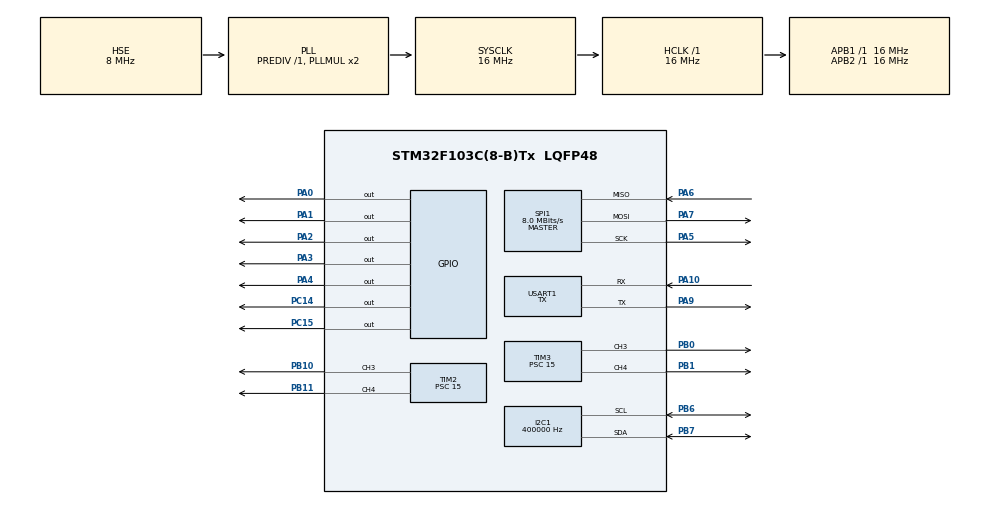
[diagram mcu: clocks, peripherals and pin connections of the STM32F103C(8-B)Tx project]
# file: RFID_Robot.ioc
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I2C1.ClockSpeed=400000
I2C1.I2C_Mode=I2C_Fast
Mcu.Family=STM32F1
Mcu.Name=STM32F103C(8-B)Tx
Mcu.Package=LQFP48
NVIC.PriorityGroup=NVIC_PRIORITYGROUP_4
PA0-WKUP.GPIO_PuPd=GPIO_PULLUP
PA0-WKUP.Signal=GPIO_Output
PA1.Signal=GPIO_Output
PA10.Mode=Asynchronous
PA10.Signal=USART1_RX
PA13.Mode=Serial_Wire
PA13.Signal=SYS_JTMS-SWDIO
PA14.Mode=Serial_Wire
PA14.Signal=SYS_JTCK-SWCLK
PA2.Signal=GPIO_Output
PA3.Signal=GPIO_Output
PA4.Signal=GPIO_Output
PA5.Mode=Full_Duplex_Master
PA5.Signal=SPI1_SCK
PA6.Mode=Full_Duplex_Master
PA6.Signal=SPI1_MISO
PA7.Mode=Full_Duplex_Master
PA7.Signal=SPI1_MOSI
PA9.Mode=Asynchronous
PA9.Signal=USART1_TX
PB0.Signal=S_TIM3_CH3
PB1.Signal=S_TIM3_CH4
PB10.Signal=S_TIM2_CH3
PB11.Signal=S_TIM2_CH4
PB6.Mode=I2C
PB6.Signal=I2C1_SCL
PB7.Mode=I2C
PB7.Signal=I2C1_SDA
PC14-OSC32_IN.Signal=GPIO_Output
PC15-OSC32_OUT.Signal=GPIO_Output
PD0-OSC_IN.Mode=HSE-External-Oscillator
PD0-OSC_IN.Signal=RCC_OSC_IN
PD1-OSC_OUT.Mode=HSE-External-Oscillator
PD1-OSC_OUT.Signal=RCC_OSC_OUT
ProjectManager.HeapSize=0x200
ProjectManager.StackSize=0x400
ProjectManager.TargetToolchain=MDK-ARM V5.32
RCC.AHBFreq_Value=16000000
RCC.APB1Freq_Value=16000000
RCC.APB1TimFreq_Value=16000000
RCC.APB2Freq_Value=16000000
RCC.APB2TimFreq_Value=16000000
RCC.HCLKFreq_Value=16000000
RCC.PLLSourceVirtual=RCC_PLLSOURCE_HSE
RCC.SYSCLKFreq_VALUE=16000000
RCC.SYSCLKSource=RCC_SYSCLKSOURCE_PLLCLK
RCC.USBFreq_Value=16000000
SH.S_TIM2_CH3.0=TIM2_CH3,PWM Generation3 CH3
SH.S_TIM2_CH4.0=TIM2_CH4,PWM Generation4 CH4
SH.S_TIM3_CH3.0=TIM3_CH3,PWM Generation3 CH3
SH.S_TIM3_CH4.0=TIM3_CH4,PWM Generation4 CH4
SPI1.CalculateBaudRate=8.0 MBits/s
SPI1.Direction=SPI_DIRECTION_2LINES
SPI1.Mode=SPI_MODE_MASTER
SPI1.VirtualType=VM_MASTER
TIM2.Channel-PWM\ Generation3\ CH3=TIM_CHANNEL_3
TIM2.Channel-PWM\ Generation4\ CH4=TIM_CHANNEL_4
TIM2.Period=999
TIM2.Prescaler=15
TIM3.Channel-PWM\ Generation3\ CH3=TIM_CHANNEL_3
TIM3.Channel-PWM\ Generation4\ CH4=TIM_CHANNEL_4
TIM3.Period=999
TIM3.Prescaler=15
USART1.Mode=MODE_TX
USART1.VirtualMode=VM_ASYNC
VP_TIM2_VS_ClockSourceINT.Mode=Internal
VP_TIM3_VS_ClockSourceINT.Mode=Internal
board=custom

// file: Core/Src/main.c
/* USER CODE BEGIN Header */
/**
  ******************************************************************************
  * @file           : main.c
  * @brief          : Main application for the RFID-guided robot.
  *
  * Project:
  *   RFID-Guided Robot
  *
  * Description:
  *   This firmware controls an STM32-based mobile robot that uses RFID tags
  *   to determine movement commands and an MPU6050 to control the robot's
  *   heading and perform 90-degree and 180-degree turns.
  *
  * Hardware:
  *   - STM32F103C8T6
  *   - RC522 RFID reader
  *   - MPU6050 IMU
  *   - L298 motor driver
  *   - Two DC motors
  *
  * Control:
  *   The robot follows a straight heading using PI-based feedback control.
  *   When a recognized RFID tag is detected, the robot stops, processes the
  *   corresponding command, and performs the required turn before continuing.
  *
  * Software:
  *   STM32 HAL
  *
  * @Author: Mahdi Rahpeyma
  * @github: https://github.com/mahdi-rhp
	* @email : rhp.mahdi@gmail.com
  *
  ******************************************************************************
  */
/* USER CODE END Header */
#include "main.h"
#include "i2c.h"
#include "spi.h"
#include "tim.h"
#include "usart.h"
#include "gpio.h"

/* USER CODE BEGIN Includes */
#include "mpu6050.h"
#include "rc522.h"
#include "stdio.h"
#include <string.h>
#include <math.h>

/* USER CODE END Includes */

/* USER CODE BEGIN PD */
#define PWM_DUTY 300
#define STRAIGHT_TOLERANCE 0.80     // Allowed yaw angle deviation (in degrees)
#define PWM_BASE_SPEED 300         // Base motor speed
#define PWM_ADJUST 80              // Speed adjustment for correction
/* USER CODE END PD */

/* USER CODE BEGIN PV */
uint8_t CardID[MFRC522_MAX_LEN];
uint8_t LastCardID[4] = {0};
const uint8_t Turn_Right[4] = {0x55, 0xF6, 0x41, 0x9A};
const uint8_t Turn_Left[4] = {0xF1, 0x13, 0xBE, 0x1F};
const uint8_t Turn_Around[4] = {0xD3, 0x43, 0x50, 0x1A};
const uint8_t Repeat_Command_Tag[4] = {0x83, 0x1A, 0xBB, 0x27};
const uint8_t Stop_Command_Tag[4] = {0x06, 0xA8, 0xDB};
uint8_t t;

MPU6050_t MPU6050;
double yaw_angle = 0.0;
uint32_t lastTick = 0;
double gyroZ_offset = 1.142;

double yaw_error_integral = 0.0;
double Kp = 120.0;
double Ki = 10.0;

/* USER CODE END PV */

void SystemClock_Config(void);
/* USER CODE BEGIN PFP */
/* MPU6050 / Yaw -------------------------------------------------------------*/

void Update_Yaw(double* yaw_angle, uint32_t* lastTick, double gyroZ_offset);
/* Rotation control ----------------------------------------------------------*/

void PerformRotation(double target_angle, void (*TurnMotorFunc)(void),
                     TIM_HandleTypeDef* htim_a, uint32_t channel_a,
                     TIM_HandleTypeDef* htim_b, uint32_t channel_b);
/* Straight-line control ----------------------------------------------------*/

void Maintain_Straight_Line(double* yaw_angle, uint32_t* lastTick, double gyroZ_offset);
void PerformRotation_PI(double target_angle);
void Maintain_Straight_Line_PI(double* yaw_angle, uint32_t* lastTick, double gyroZ_offset);
void Maintain_Straight_Line_PI_Backward(double* yaw_angle, uint32_t* lastTick, double gyroZ_offset);

void Motor_Stop(void);
void Motor_Forward(void);
void Motor_Backward(void);
void Motor_TurnRight(void);
void Motor_TurnLeft(void);

/* USER CODE END PFP */

int main(void)
{

  /* MCU Configuration--------------------------------------------------------*/

  /* Reset of all peripherals, Initializes the Flash interface and the Systick. */
  HAL_Init();

  /* Configure the system clock */
  SystemClock_Config();

  /* Initialize all configured peripherals */
  MX_GPIO_Init();
  MX_I2C1_Init();
  MX_SPI1_Init();
  MX_USART1_UART_Init();
  MX_TIM2_Init();
  MX_TIM3_Init();
  /* USER CODE BEGIN 2 */
	  HAL_Delay(100);

  MFRC522_Init();
  // HAL_GPIO_WritePin(GPIOA, GPIO_PIN_4, GPIO_PIN_SET);
  // HAL_UART_Transmit(&huart1, (uint8_t*)"helo,RC522 is ready. lets go!\r\n", 32, HAL_MAX_DELAY); // UART for RFID init message

  MPU6050_Init(&hi2c1);
  while (MPU6050_Init(&hi2c1) == 1);
  // HAL_UART_Transmit(&huart1, (uint8_t*)"STM32F103 Mifare RC522 RFID Card reader\r\n", 42, 500); // UART for MPU6050 init

  HAL_TIM_PWM_Start(&htim3, TIM_CHANNEL_3);
  HAL_TIM_PWM_Start(&htim3, TIM_CHANNEL_4);
  HAL_TIM_PWM_Start(&htim2, TIM_CHANNEL_3);
  HAL_TIM_PWM_Start(&htim2, TIM_CHANNEL_4);

  typedef enum {
      NORMAL_STATE,
      ROTATING_RIGHT,
      ROTATING_LEFT,
      ROTATING_AROUND,
		  STOPPED_STATE
  } RobotState_t;

  RobotState_t RobotState = NORMAL_STATE;
	RobotState_t LastCommand = NORMAL_STATE;

  HAL_Delay(4000);
	HAL_GPIO_WritePin(GPIOA,GPIO_PIN_0,1);
	HAL_GPIO_WritePin(GPIOA,GPIO_PIN_1,1);
  HAL_GPIO_WritePin(GPIOA,GPIO_PIN_2,1);
	HAL_GPIO_WritePin(GPIOA,GPIO_PIN_3,1);

  HAL_GPIO_WritePin(GPIOC,GPIO_PIN_14,0);
  HAL_GPIO_WritePin(GPIOC,GPIO_PIN_15,0);

  /* USER CODE END 2 */

  /* Infinite loop */
  /* USER CODE BEGIN WHILE */
  while (1)
  {

		Update_Yaw(&yaw_angle, &lastTick, gyroZ_offset);

    switch (RobotState)
    {
      case NORMAL_STATE:
        // HAL_UART_Transmit(&huart1, (uint8_t*)"everything is good\r\n", 22, HAL_MAX_DELAY); // UART normal state message
		  	Maintain_Straight_Line_PI(&yaw_angle, &lastTick, gyroZ_offset);
     //   Maintain_Straight_Line(&yaw_angle, &lastTick, gyroZ_offset);
      //     Motor_Forward();
        if (!MFRC522_Request(PICC_REQIDL, CardID))
        {
          if (!MFRC522_Anticoll(CardID))
          {
            if (memcmp(CardID, LastCardID, 4))
            {
              memcpy(LastCardID, CardID, 4);
							yaw_angle = 0;
						  HAL_GPIO_WritePin(GPIOC,GPIO_PIN_14,1);
	            HAL_GPIO_WritePin(GPIOC,GPIO_PIN_15,1);

              Motor_Stop();
              HAL_Delay(700);
						//	Maintain_Straight_Line_PI_Backward(&yaw_angle, &lastTick, gyroZ_offset);
              Motor_Backward();
              HAL_Delay(450);
              Motor_Stop();

              HAL_GPIO_WritePin(GPIOC,GPIO_PIN_14,0);
	            HAL_GPIO_WritePin(GPIOC,GPIO_PIN_15,0);
              // HAL_UART_Transmit(&huart1, (uint8_t*)"stop!!!!\r\n", 11, HAL_MAX_DELAY); // UART stop message

              if (memcmp(LastCardID, Turn_Right, 4) == 0)
               {
                  LastCommand = ROTATING_RIGHT;
                  RobotState = ROTATING_RIGHT;
               }
              else if (memcmp(LastCardID, Turn_Left, 4) == 0)
              {
                  LastCommand = ROTATING_LEFT;
                  RobotState = ROTATING_LEFT;
              }
              else if (memcmp(LastCardID, Turn_Around, 4) == 0)
              {
                 LastCommand = ROTATING_AROUND;
                 RobotState = ROTATING_AROUND;
              }
              else if (memcmp(LastCardID, Repeat_Command_Tag, 4) == 0)
              {
                   RobotState = LastCommand;
              }
							else if (memcmp(LastCardID, Stop_Command_Tag, 4) == 0)
              {
                   RobotState = STOPPED_STATE;
              }

            }
          }
        }
        else {
          t++;
          if (t > 4) {
            memset(LastCardID, 0, 4);
            t = 0;
          }
        }
        break;

      case ROTATING_RIGHT:
        PerformRotation(-90.0, Motor_TurnRight, &htim3, TIM_CHANNEL_3, &htim2, TIM_CHANNEL_4);
			//  PerformRotation_PI(-90.0);
        RobotState = NORMAL_STATE;
        break;

      case ROTATING_LEFT:
        PerformRotation(90.0, Motor_TurnLeft, &htim3, TIM_CHANNEL_4, &htim2, TIM_CHANNEL_3);
		 // 	PerformRotation_PI(90.0);
        RobotState = NORMAL_STATE;
        break;

      case ROTATING_AROUND:
        PerformRotation(-180.0, Motor_TurnRight, &htim3, TIM_CHANNEL_3, &htim2, TIM_CHANNEL_4);
		//  	PerformRotation_PI(-180.0);
        RobotState = NORMAL_STATE;
        break;
			case STOPPED_STATE:
        Motor_Stop();
        break;

    }

    HAL_Delay(50);

    /* USER CODE END WHILE */

  }
}

void SystemClock_Config(void)
{
  RCC_OscInitTypeDef RCC_OscInitStruct = {0};
  RCC_ClkInitTypeDef RCC_ClkInitStruct = {0};

  /** Initializes the RCC Oscillators according to the specified parameters
  * in the RCC_OscInitTypeDef structure.
  */
  RCC_OscInitStruct.OscillatorType = RCC_OSCILLATORTYPE_HSE;
  RCC_OscInitStruct.HSEState = RCC_HSE_ON;
  RCC_OscInitStruct.HSEPredivValue = RCC_HSE_PREDIV_DIV1;
  RCC_OscInitStruct.HSIState = RCC_HSI_ON;
  RCC_OscInitStruct.PLL.PLLState = RCC_PLL_ON;
  RCC_OscInitStruct.PLL.PLLSource = RCC_PLLSOURCE_HSE;
  RCC_OscInitStruct.PLL.PLLMUL = RCC_PLL_MUL2;
  if (HAL_RCC_OscConfig(&RCC_OscInitStruct) != HAL_OK)
  {
    Error_Handler();
  }

  /** Initializes the CPU, AHB and APB buses clocks
  */
  RCC_ClkInitStruct.ClockType = RCC_CLOCKTYPE_HCLK|RCC_CLOCKTYPE_SYSCLK
                              |RCC_CLOCKTYPE_PCLK1|RCC_CLOCKTYPE_PCLK2;
  RCC_ClkInitStruct.SYSCLKSource = RCC_SYSCLKSOURCE_PLLCLK;
  RCC_ClkInitStruct.AHBCLKDivider = RCC_SYSCLK_DIV1;
  RCC_ClkInitStruct.APB1CLKDivider = RCC_HCLK_DIV1;
  RCC_ClkInitStruct.APB2CLKDivider = RCC_HCLK_DIV1;

  if (HAL_RCC_ClockConfig(&RCC_ClkInitStruct, FLASH_LATENCY_0) != HAL_OK)
  {
    Error_Handler();
  }
}

/* USER CODE BEGIN 4 */

/* Motor control -------------------------------------------------------------*/

void Motor_Stop(void)
{
    __HAL_TIM_SET_COMPARE(&htim3, TIM_CHANNEL_3, 0);
    __HAL_TIM_SET_COMPARE(&htim3, TIM_CHANNEL_4, 0);
    __HAL_TIM_SET_COMPARE(&htim2, TIM_CHANNEL_3, 0);
    __HAL_TIM_SET_COMPARE(&htim2, TIM_CHANNEL_4, 0);
}

void Motor_Forward(void)
{
    __HAL_TIM_SET_COMPARE(&htim3, TIM_CHANNEL_3, PWM_DUTY);
    __HAL_TIM_SET_COMPARE(&htim3, TIM_CHANNEL_4, 0);
    __HAL_TIM_SET_COMPARE(&htim2, TIM_CHANNEL_3, PWM_DUTY);
    __HAL_TIM_SET_COMPARE(&htim2, TIM_CHANNEL_4, 0);
}

void Motor_Backward(void)
{
    __HAL_TIM_SET_COMPARE(&htim3, TIM_CHANNEL_3, 0);
    __HAL_TIM_SET_COMPARE(&htim3, TIM_CHANNEL_4, 400);
    __HAL_TIM_SET_COMPARE(&htim2, TIM_CHANNEL_3, 0);
    __HAL_TIM_SET_COMPARE(&htim2, TIM_CHANNEL_4, 400);
}

void Motor_TurnRight(void)
{
    __HAL_TIM_SET_COMPARE(&htim3, TIM_CHANNEL_3, PWM_DUTY);
    __HAL_TIM_SET_COMPARE(&htim3, TIM_CHANNEL_4, 0);
    __HAL_TIM_SET_COMPARE(&htim2, TIM_CHANNEL_3, 0);
    __HAL_TIM_SET_COMPARE(&htim2, TIM_CHANNEL_4, PWM_DUTY);
}

void Motor_TurnLeft(void)
{
    __HAL_TIM_SET_COMPARE(&htim3, TIM_CHANNEL_3, 0);
    __HAL_TIM_SET_COMPARE(&htim3, TIM_CHANNEL_4, PWM_DUTY);
    __HAL_TIM_SET_COMPARE(&htim2, TIM_CHANNEL_3, PWM_DUTY);
    __HAL_TIM_SET_COMPARE(&htim2, TIM_CHANNEL_4, 0);
}

void Update_Yaw(double* yaw_angle, uint32_t* lastTick, double gyroZ_offset)
{
    MPU6050_Read_All(&hi2c1, &MPU6050);
    uint32_t now = HAL_GetTick();
    double dt = (now - *lastTick) / 1000.0;
    *lastTick = now;
    double Gz_corrected = MPU6050.Gz - gyroZ_offset;
    *yaw_angle += Gz_corrected * dt;
}

void PerformRotation(double target_angle, void (*TurnMotorFunc)(void),
                     TIM_HandleTypeDef* htim_a, uint32_t channel_a,
                     TIM_HandleTypeDef* htim_b, uint32_t channel_b)
{
    TurnMotorFunc();

    if (target_angle > 0)
    {
        while (yaw_angle < target_angle)
        {
            Update_Yaw(&yaw_angle, &lastTick, gyroZ_offset);

            if (yaw_angle > target_angle - 15.0)
            {
                __HAL_TIM_SET_COMPARE(htim_a, channel_a, 200);
                __HAL_TIM_SET_COMPARE(htim_b, channel_b, 200);
            }

            HAL_Delay(5);
        }
    }
    else if (target_angle < 0)
    {
        while (yaw_angle > target_angle)
        {
            Update_Yaw(&yaw_angle, &lastTick, gyroZ_offset);

            if (yaw_angle < target_angle + 15.0)
            {
                __HAL_TIM_SET_COMPARE(htim_a, channel_a, 200);
                __HAL_TIM_SET_COMPARE(htim_b, channel_b, 200);
            }

            HAL_Delay(5);
        }
    }

    Motor_Stop();
		HAL_Delay(200);

		    if (target_angle > 0)
    {
        while (yaw_angle < target_angle)
        {
            Update_Yaw(&yaw_angle, &lastTick, gyroZ_offset);

            if (yaw_angle > target_angle - 5.0)
            {
                __HAL_TIM_SET_COMPARE(htim_a, channel_a, 180);
                __HAL_TIM_SET_COMPARE(htim_b, channel_b, 180);
            }

            HAL_Delay(5);
        }
    }
    else if (target_angle < 0)
    {
        while (yaw_angle > target_angle)
        {
            Update_Yaw(&yaw_angle, &lastTick, gyroZ_offset);

            if (yaw_angle < target_angle + 5.0)
            {
                __HAL_TIM_SET_COMPARE(htim_a, channel_a, 180);
                __HAL_TIM_SET_COMPARE(htim_b, channel_b, 180);
            }

            HAL_Delay(5);
        }
    }

    Motor_Stop();

    yaw_angle = 0;
}

void Maintain_Straight_Line(double* yaw_angle, uint32_t* lastTick, double gyroZ_offset)
{
    // Update yaw angle using gyroscope
    Update_Yaw(yaw_angle, lastTick, gyroZ_offset);

    if (*yaw_angle > STRAIGHT_TOLERANCE) {
        // Deviating to the left – increase left wheel speed, decrease right wheel speed
        __HAL_TIM_SET_COMPARE(&htim3, TIM_CHANNEL_3, PWM_BASE_SPEED + PWM_ADJUST); // Left motor
        __HAL_TIM_SET_COMPARE(&htim2, TIM_CHANNEL_3, PWM_BASE_SPEED - PWM_ADJUST); // Right motor
    }
    else if (*yaw_angle < -STRAIGHT_TOLERANCE) {
        // Deviating to the right – increase right wheel speed, decrease left wheel speed
        __HAL_TIM_SET_COMPARE(&htim3, TIM_CHANNEL_3, PWM_BASE_SPEED - PWM_ADJUST); // Left motor
        __HAL_TIM_SET_COMPARE(&htim2, TIM_CHANNEL_3, PWM_BASE_SPEED + PWM_ADJUST); // Right motor
    }
    else {
        // Moving straight – keep both motors at base speed
        __HAL_TIM_SET_COMPARE(&htim3, TIM_CHANNEL_3, PWM_BASE_SPEED); // Left motor
        __HAL_TIM_SET_COMPARE(&htim2, TIM_CHANNEL_3, PWM_BASE_SPEED); // Right motor
    }
}

void Maintain_Straight_Line_PI(double* yaw_angle, uint32_t* lastTick, double gyroZ_offset)
{
    MPU6050_Read_All(&hi2c1, &MPU6050);
    uint32_t now = HAL_GetTick();
    double dt = (now - *lastTick) / 1000.0;
    *lastTick = now;

    double Gz_corrected = MPU6050.Gz - gyroZ_offset;
    *yaw_angle += Gz_corrected * dt;
    double error = *yaw_angle;
    yaw_error_integral += error * dt;
    double control_output = Kp * error + Ki * yaw_error_integral;
    if (control_output > PWM_ADJUST) control_output = PWM_ADJUST;
    if (control_output < -PWM_ADJUST) control_output = -PWM_ADJUST;
    int left_speed = PWM_BASE_SPEED + control_output;
    int right_speed = PWM_BASE_SPEED - control_output;
    if (left_speed < 0) left_speed = 0;
    if (right_speed < 0) right_speed = 0;
    if (left_speed > 1000) left_speed = 1000;
    if (right_speed > 1000) right_speed = 1000;
    __HAL_TIM_SET_COMPARE(&htim3, TIM_CHANNEL_3, left_speed);  // Left motor
    __HAL_TIM_SET_COMPARE(&htim2, TIM_CHANNEL_3, right_speed); // Right motor
}

void PerformRotation_PI(double target_angle)
{
    yaw_angle = 0;
    yaw_error_integral = 0;

    double error, control_output;
    double Kp_rot = 6.0;
    double Ki_rot = 0.5;
    const int pwm_min = 200;
    const int pwm_max = 400;
    const double angle_tolerance = 1.0;

    uint32_t last_time = HAL_GetTick();
    while (fabs(target_angle - yaw_angle) > angle_tolerance)
    {
        Update_Yaw(&yaw_angle, &lastTick, gyroZ_offset);

        uint32_t now = HAL_GetTick();
        double dt = (now - last_time) / 1000.0;
        last_time = now;

        error = target_angle - yaw_angle;
        yaw_error_integral += error * dt;

        control_output = Kp_rot * error + Ki_rot * yaw_error_integral;
        if (control_output > pwm_max) control_output = pwm_max;
        else if (control_output < -pwm_max) control_output = -pwm_max;

        if (control_output > 0 && control_output < pwm_min) control_output = pwm_min;
        else if (control_output < 0 && control_output > -pwm_min) control_output = -pwm_min;
        if (control_output > 0) {
            __HAL_TIM_SET_COMPARE(&htim3, TIM_CHANNEL_4, control_output);
            __HAL_TIM_SET_COMPARE(&htim2, TIM_CHANNEL_3, control_output);
        } else {
            __HAL_TIM_SET_COMPARE(&htim3, TIM_CHANNEL_3, -control_output);
            __HAL_TIM_SET_COMPARE(&htim2, TIM_CHANNEL_4, -control_output);
        }

        HAL_Delay(10);
    }

    Motor_Stop();
    HAL_Delay(100);
    double correction_pwm = 200;
    double correction_tolerance = 2.0;

    if (yaw_angle > target_angle + correction_tolerance) {
        while (yaw_angle > target_angle + correction_tolerance / 2.0) {
            Update_Yaw(&yaw_angle, &lastTick, gyroZ_offset);
            __HAL_TIM_SET_COMPARE(&htim3, TIM_CHANNEL_3, correction_pwm);
            __HAL_TIM_SET_COMPARE(&htim2, TIM_CHANNEL_4, correction_pwm);
            HAL_Delay(10);
        }
    }
		else if (yaw_angle < target_angle - correction_tolerance) {
        while (yaw_angle < target_angle - correction_tolerance / 2.0) {
            Update_Yaw(&yaw_angle, &lastTick, gyroZ_offset);
            __HAL_TIM_SET_COMPARE(&htim3, TIM_CHANNEL_4, correction_pwm);
            __HAL_TIM_SET_COMPARE(&htim2, TIM_CHANNEL_3, correction_pwm);
            HAL_Delay(10);
        }
    }
    HAL_Delay(100);
    Motor_Stop();
    yaw_angle = 0;
}

void Maintain_Straight_Line_PI_Backward(double* yaw_angle, uint32_t* lastTick, double gyroZ_offset)
{
    MPU6050_Read_All(&hi2c1, &MPU6050);
    uint32_t now = HAL_GetTick();
    double dt = (now - *lastTick) / 1000.0;
    *lastTick = now;

    double Gz_corrected = MPU6050.Gz - gyroZ_offset;
    *yaw_angle += Gz_corrected * dt;
    double error = *yaw_angle;
    yaw_error_integral += error * dt;
    double control_output = Kp * error + Ki * yaw_error_integral;
    if (control_output > PWM_ADJUST) control_output = PWM_ADJUST;
    if (control_output < -PWM_ADJUST) control_output = -PWM_ADJUST;
    int left_speed = PWM_BASE_SPEED + control_output;
    int right_speed = PWM_BASE_SPEED - control_output;
    if (left_speed < 0) left_speed = 0;
    if (right_speed < 0) right_speed = 0;
    if (left_speed > 1000) left_speed = 1000;
    if (right_speed > 1000) right_speed = 1000;
    __HAL_TIM_SET_COMPARE(&htim3, TIM_CHANNEL_4, left_speed);  // Left motor
    __HAL_TIM_SET_COMPARE(&htim2, TIM_CHANNEL_4, right_speed); // Right motor
}

/* USER CODE END 4 */

void Error_Handler(void)
{
  __disable_irq();
  while (1)
  {
  }
}
